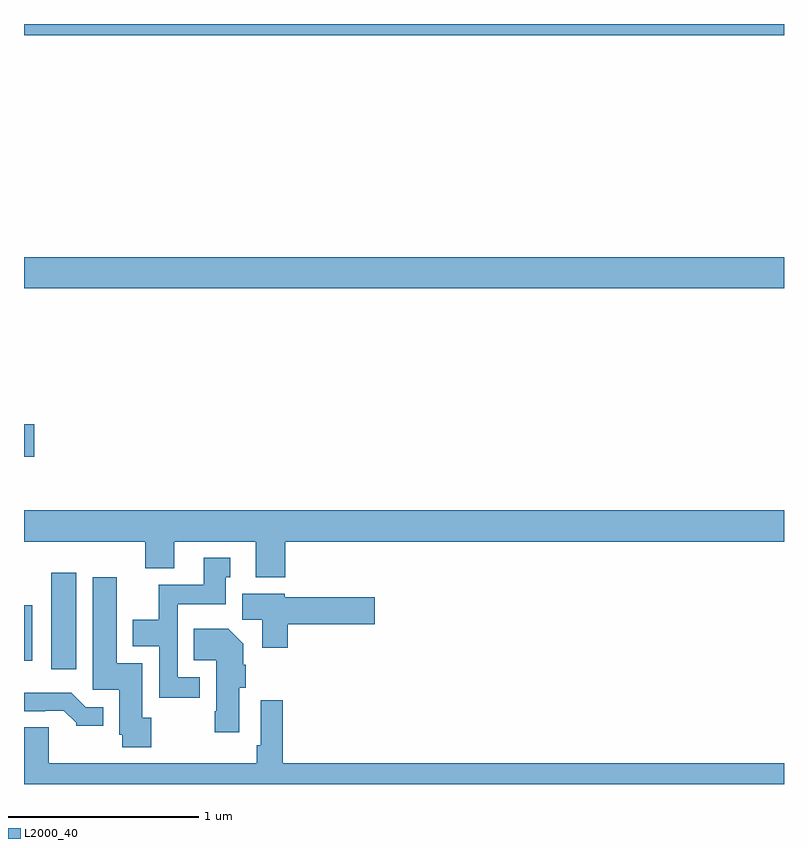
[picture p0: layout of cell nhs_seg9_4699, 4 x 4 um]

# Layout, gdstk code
import gdstk
lib = gdstk.Library(unit=1e-6, precision=1e-09)
def R(c, l, rs):  # rectangles x0, y0, x1, y1
    for r in rs: c.add(gdstk.rectangle(r[:2], r[2:], *l))
def P(c, l, *ps):  # polygons
    for p in ps: c.add(gdstk.Polygon(p, *l))
L2000_40 = (2000, 40)

nhs_seg9_4699 = lib.new_cell('nhs_seg9_4699')
R(nhs_seg9_4699, L2000_40, [(383.144,1173.105,383.275,1173.613), (383,1173.149,383.044,1173.442), (383,1174.223,383.053,1174.394), (383,1175.108,387,1175.272), (383,1176.44,387,1176.5)])
P(nhs_seg9_4699, L2000_40, [(384.374,1173.776),(387,1173.776),(387,1173.94),(383,1173.94),(383,1173.776),(383.639,1173.776),(383.639,1173.635),(383.791,1173.635),(383.791,1173.776),(384.221,1173.776),(384.221,1173.587),(384.374,1173.587)],
  [(383.926,1173.063),(383.808,1173.063),(383.808,1173.446),(384.061,1173.446),(384.061,1173.588),(384.085,1173.588),(384.085,1173.691),(383.945,1173.691),(383.945,1173.55),(383.71,1173.55),(383.71,1173.364),(383.573,1173.364),(383.573,1173.224),(383.712,1173.224),(383.712,1172.955),(383.926,1172.955)],
  [(383.67,1172.85),(383.623,1172.85),(383.623,1173.136),(383.488,1173.136),(383.488,1173.589),(383.363,1173.589),(383.363,1172.997),(383.501,1172.997),(383.501,1172.76),(383.518,1172.76),(383.518,1172.694),(383.67,1172.694)],
  [(384.389,1173.341),(384.847,1173.341),(384.847,1173.483),(384.372,1173.483),(384.372,1173.502),(384.149,1173.502),(384.149,1173.364),(384.254,1173.364),(384.254,1173.216),(384.389,1173.216)],
  [(384.133,1173.006),(384.167,1173.006),(384.167,1173.128),(384.154,1173.128),(384.154,1173.238),(384.076,1173.316),(383.893,1173.316),(383.893,1173.152),(384.011,1173.152),(384.011,1172.884),(384.004,1172.884),(384.004,1172.772),(384.133,1172.772)],
  [(383.416,1172.904),(383.325,1172.904),(383.249,1172.98),(383,1172.98),(383,1172.883),(383.111,1172.883),(383.111,1172.886),(383.21,1172.886),(383.274,1172.822),(383.274,1172.807),(383.416,1172.807)],
  [(387,1172.608),(384.362,1172.608),(384.362,1172.941),(384.246,1172.941),(384.246,1172.704),(384.226,1172.704),(384.226,1172.608),(383.131,1172.608),(383.131,1172.798),(383,1172.798),(383,1172.5),(387,1172.5)])

lib.write_gds('nhs_seg9_4699.gds')
